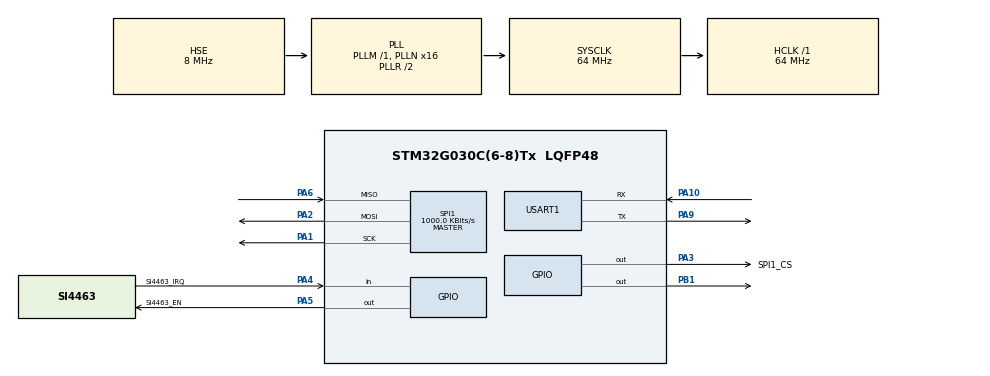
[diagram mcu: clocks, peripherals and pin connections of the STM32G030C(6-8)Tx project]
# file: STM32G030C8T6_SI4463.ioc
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Dma.Request0=USART1_RX
Dma.USART1_RX.0.Direction=DMA_PERIPH_TO_MEMORY
Dma.USART1_RX.0.EventEnable=DISABLE
Dma.USART1_RX.0.Instance=DMA1_Channel1
Dma.USART1_RX.0.MemDataAlignment=DMA_MDATAALIGN_BYTE
Dma.USART1_RX.0.MemInc=DMA_MINC_ENABLE
Dma.USART1_RX.0.Mode=DMA_CIRCULAR
Dma.USART1_RX.0.PeriphDataAlignment=DMA_PDATAALIGN_BYTE
Dma.USART1_RX.0.PeriphInc=DMA_PINC_DISABLE
Dma.USART1_RX.0.Polarity=HAL_DMAMUX_REQ_GEN_RISING
Dma.USART1_RX.0.Priority=DMA_PRIORITY_LOW
Dma.USART1_RX.0.RequestNumber=1
Dma.USART1_RX.0.SignalID=NONE
Dma.USART1_RX.0.SyncEnable=DISABLE
Dma.USART1_RX.0.SyncPolarity=HAL_DMAMUX_SYNC_NO_EVENT
Dma.USART1_RX.0.SyncRequestNumber=1
Dma.USART1_RX.0.SyncSignalID=NONE
Mcu.Family=STM32G0
Mcu.Name=STM32G030C(6-8)Tx
Mcu.Package=LQFP48
NVIC.DMA1_Channel1_IRQn=true\:0\:0\:false\:false\:true\:false\:true\:true
NVIC.USART1_IRQn=true\:0\:0\:false\:false\:true\:true\:true\:true
PA1.Mode=Full_Duplex_Master
PA1.Signal=SPI1_SCK
PA10.Mode=Asynchronous
PA10.Signal=USART1_RX
PA13.Mode=Serial_Wire
PA13.Signal=SYS_SWDIO
PA14-BOOT0.Mode=Serial_Wire
PA14-BOOT0.Signal=SYS_SWCLK
PA2.Mode=Full_Duplex_Master
PA2.Signal=SPI1_MOSI
PA3.GPIO_Label=SPI1_CS
PA3.GPIO_Speed=GPIO_SPEED_FREQ_VERY_HIGH
PA3.Signal=GPIO_Output
PA4.GPIO_Label=SI4463_IRQ
PA4.Signal=GPIO_Input
PA5.GPIO_Label=SI4463_EN
PA5.Signal=GPIO_Output
PA6.Mode=Full_Duplex_Master
PA6.Signal=SPI1_MISO
PA9.Mode=Asynchronous
PA9.Signal=USART1_TX
PB1.PinState=GPIO_PIN_SET
PB1.Signal=GPIO_Output
PF0-OSC_IN\ (PF0).Mode=HSE-External-Oscillator
PF0-OSC_IN\ (PF0).Signal=RCC_OSC_IN
PF1-OSC_OUT\ (PF1).Mode=HSE-External-Oscillator
PF1-OSC_OUT\ (PF1).Signal=RCC_OSC_OUT
ProjectManager.HeapSize=0x200
ProjectManager.StackSize=0x400
ProjectManager.TargetToolchain=MDK-ARM V5.32
RCC.ADCFreq_Value=64000000
RCC.AHBFreq_Value=64000000
RCC.CortexFreq_Value=64000000
RCC.EXTERNAL_CLOCK_VALUE=12288000
RCC.HCLKFreq_Value=64000000
RCC.HSE_VALUE=8000000
RCC.HSI_VALUE=16000000
RCC.LSE_VALUE=32768
RCC.PLLN=16
RCC.PLLSourceVirtual=RCC_PLLSOURCE_HSE
RCC.SYSCLKFreq_VALUE=64000000
RCC.SYSCLKSource=RCC_SYSCLKSOURCE_PLLCLK
RCC.VCOOutputFreq_Value=128000000
SPI1.BaudRatePrescaler=SPI_BAUDRATEPRESCALER_64
SPI1.CalculateBaudRate=1000.0 KBits/s
SPI1.Direction=SPI_DIRECTION_2LINES
SPI1.Mode=SPI_MODE_MASTER
SPI1.VirtualType=VM_MASTER
USART1.VirtualMode-Asynchronous=VM_ASYNC
board=custom

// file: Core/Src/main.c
/* USER CODE BEGIN Header */
/**
  ******************************************************************************
  * @file           : main.c
  * @brief          : Main program body
  ******************************************************************************
  * @attention
  *
  * Copyright (c) 2022 STMicroelectronics.
  * All rights reserved.
  *
  * This software is licensed under terms that can be found in the LICENSE file
  * in the root directory of this software component.
  * If no LICENSE file comes with this software, it is provided AS-IS.
  *
  ******************************************************************************
  */
/* USER CODE END Header */
#include "main.h"
#include "dma.h"
#include "spi.h"
#include "usart.h"
#include "gpio.h"

/* USER CODE BEGIN Includes */
#include <si446x.h>
#include <POCSAG_Generate.h>
#include <stdio.h>
#include <stdlib.h>
#include <string.h>
/* USER CODE END Includes */

/* USER CODE BEGIN PV */
uint8_t g_UartRxBuffer[ 400 ] = { 0 };
uint16_t i=0;

uint8_t strLength=0;
uint32_t TxBuffer[TXBUFF_SIZE];

uint8_t txSize=0;

uint8_t rxChar;
uint8_t rxOKFlag[4]={0,0,0,0}; // 00-rx not start yet. 10-rx started but not finish. 11-rx finished. rxOKFlag[2]=Index. rxOKFlag[3]=rx finished.
uint8_t UartBuffer[256]={0};

POCSAG_MSG Pager; //Pager Data Struct
int8_t POCSAG_Message_Generated_Status;

extern uint32_t POCSAG_Batch1[16];	//码组1，包含16个码字
extern uint32_t POCSAG_Batch2[16];	//码组2，包含16个码字
/* USER CODE END PV */

void SystemClock_Config(void);

int main(void)
{

  /* MCU Configuration--------------------------------------------------------*/

  /* Reset of all peripherals, Initializes the Flash interface and the Systick. */
  HAL_Init();

  /* Configure the system clock */
  SystemClock_Config();

  /* Initialize all configured peripherals */
  MX_GPIO_Init();
  MX_DMA_Init();
  MX_SPI1_Init();
  MX_USART1_UART_Init();
  /* USER CODE BEGIN 2 */
	SI446x_Init();
  HAL_UART_Receive_DMA(&huart1,&rxChar,1);

  /* USER CODE END 2 */

  /* Infinite loop */
  /* USER CODE BEGIN WHILE */
  while (1)
  {
    if(/*rxOKFlag[3]==1*/rxOKFlag[3]==1&&(UartBuffer[TEXT_OR_NUM]=='N'||UartBuffer[TEXT_OR_NUM]=='T')){
      prepare_POCSAG_Data(UartBuffer,Pager);

      if(UartBuffer[TEXT_OR_NUM]=='N'){
        printf("Numberic Data Detected!\r\n");

      }

      if(UartBuffer[TEXT_OR_NUM]=='T'){
        printf("Text Data Detected!\r\n");
      }

      Pager=prepare_POCSAG_Data(UartBuffer,Pager);

      POCSAG_Message_Generated_Status=POCSAG_MakeCodeWords(Pager.Pager_Address,Pager.FuncCode,Pager.Text,\
      Pager.Batch20pt,Pager.InvertOpt);

      if(POCSAG_Message_Generated_Status>POCSAG_ERR_NONE){
        SI446x_Send_Packet((uint8_t*)POCSAG_Batch1,64,0,0);
      }
      memset(POCSAG_Batch1,0,sizeof(POCSAG_Batch1));
     // SI446x_Send_Packet((uint8_t*)TxBuff,sizeof(TxBuff),0,0);

     // printf("Data:%x,%x,%x,%x\r\n",test4,test3,test2,test1);
      txSize=0;
      rxOKFlag[3]=0;
    }

    /* USER CODE END WHILE */

  }
}

void SystemClock_Config(void)
{
  RCC_OscInitTypeDef RCC_OscInitStruct = {0};
  RCC_ClkInitTypeDef RCC_ClkInitStruct = {0};

  /** Configure the main internal regulator output voltage
  */
  HAL_PWREx_ControlVoltageScaling(PWR_REGULATOR_VOLTAGE_SCALE1);

  /** Initializes the RCC Oscillators according to the specified parameters
  * in the RCC_OscInitTypeDef structure.
  */
  RCC_OscInitStruct.OscillatorType = RCC_OSCILLATORTYPE_HSE;
  RCC_OscInitStruct.HSEState = RCC_HSE_ON;
  RCC_OscInitStruct.PLL.PLLState = RCC_PLL_ON;
  RCC_OscInitStruct.PLL.PLLSource = RCC_PLLSOURCE_HSE;
  RCC_OscInitStruct.PLL.PLLM = RCC_PLLM_DIV1;
  RCC_OscInitStruct.PLL.PLLN = 16;
  RCC_OscInitStruct.PLL.PLLP = RCC_PLLP_DIV2;
  RCC_OscInitStruct.PLL.PLLR = RCC_PLLR_DIV2;
  if (HAL_RCC_OscConfig(&RCC_OscInitStruct) != HAL_OK)
  {
    Error_Handler();
  }

  /** Initializes the CPU, AHB and APB buses clocks
  */
  RCC_ClkInitStruct.ClockType = RCC_CLOCKTYPE_HCLK|RCC_CLOCKTYPE_SYSCLK
                              |RCC_CLOCKTYPE_PCLK1;
  RCC_ClkInitStruct.SYSCLKSource = RCC_SYSCLKSOURCE_PLLCLK;
  RCC_ClkInitStruct.AHBCLKDivider = RCC_SYSCLK_DIV1;
  RCC_ClkInitStruct.APB1CLKDivider = RCC_HCLK_DIV1;

  if (HAL_RCC_ClockConfig(&RCC_ClkInitStruct, FLASH_LATENCY_2) != HAL_OK)
  {
    Error_Handler();
  }
}

/* USER CODE BEGIN 4 */
  void HAL_UART_RxCpltCallback(UART_HandleTypeDef *huart){
    g_UartRxBuffer[rxOKFlag[2]]=rxChar;
    rxOKFlag[2]+=1;

    if(rxChar=='$'){
      memset(UartBuffer,0,sizeof(UartBuffer));
      for(int i=0;i<256;i++){
        if(g_UartRxBuffer[i]=='$'){
            strLength=i+1;
            break;
          }
      }
      memcpy(UartBuffer,g_UartRxBuffer,strLength);
      memset(g_UartRxBuffer,0,sizeof(g_UartRxBuffer));
      rxOKFlag[2]=0;
      rxOKFlag[3]=1;
      printf("Received:%s\r\n",UartBuffer);
    }
  }
/* USER CODE END 4 */

void Error_Handler(void)
{
  __disable_irq();
  while (1)
  {
  }
}
